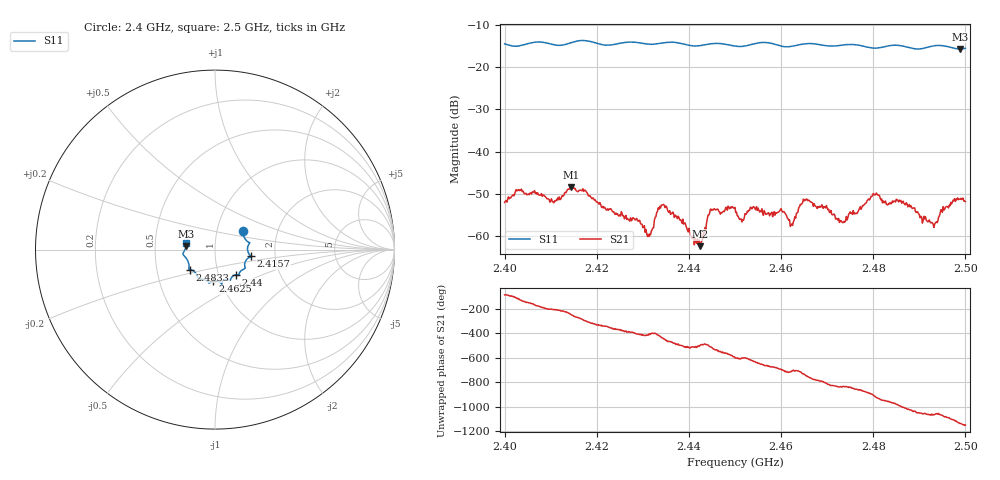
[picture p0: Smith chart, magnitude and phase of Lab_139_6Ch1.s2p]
# Hz S RI R 50
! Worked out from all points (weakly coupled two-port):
!   601 points, 2.4 GHz to 2.5 GHz, reference 50 ohm
!   highest |S21| = -48.40 dB at 2.4145 GHz (marker M1); lowest = -62.4 dB at 2.4423 GHz (marker M2)
!   lowest |S11| = -15.7 dB at 2.4988 GHz (marker M3), VSWR 1.39, Z = 36 + j1.38 ohm
!   |S11| at or under -10 dB: start of sweep to end of sweep
!   S12 and S22 are empty: the file has one direction only
!   S11 on the Smith chart (normalised r, x): 2.4 GHz: 1.34, +0.29; 2.4157 GHz: 1.49, -0.12; 2.44 GHz: 1.21, -0.35; 2.4625 GHz: 0.92, -0.34; 2.4833 GHz: 0.74, -0.17; 2.5 GHz: 0.72, +0.06
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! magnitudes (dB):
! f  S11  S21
! 2.4 GHz  -14.5  -52.1
! 2.4032 GHz  -15.0  -49.3
! 2.4108 GHz  -14.7  -51.7
! 2.4145 GHz  -14.2  -48.4
! 2.4157 GHz  -13.8  -49.4
! 2.4167 GHz  -13.7  -49.2
! 2.4313 GHz  -14.6  -60.1
! 2.4333 GHz  -14.4  -53.4
! 2.44 GHz  -14.8  -58.2
! 2.4423 GHz  -14.9  -62.4
! 2.445 GHz  -14.4  -53.7
! 2.45 GHz  -15.0  -53.3
! 2.4602 GHz  -15.1  -54.0
! 2.4625 GHz  -15.0  -57.5
! 2.4647 GHz  -14.6  -52.2
! 2.4667 GHz  -14.4  -52.1
! 2.4732 GHz  -14.8  -56.6
! 2.4803 GHz  -15.5  -50.3
! 2.4833 GHz  -15.0  -52.3
! 2.493 GHz  -15.0  -57.2
! 2.4988 GHz  -15.7  -51.3
! 2.5 GHz  -15.6  -51.9
